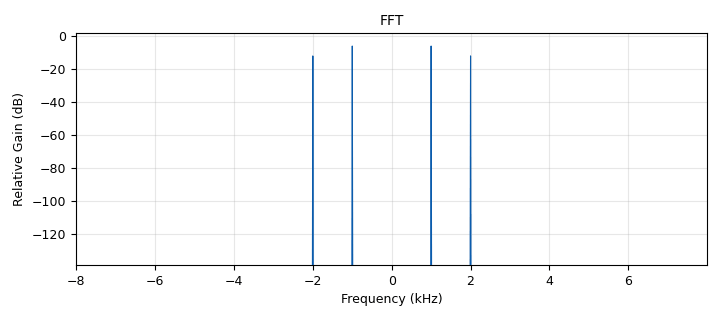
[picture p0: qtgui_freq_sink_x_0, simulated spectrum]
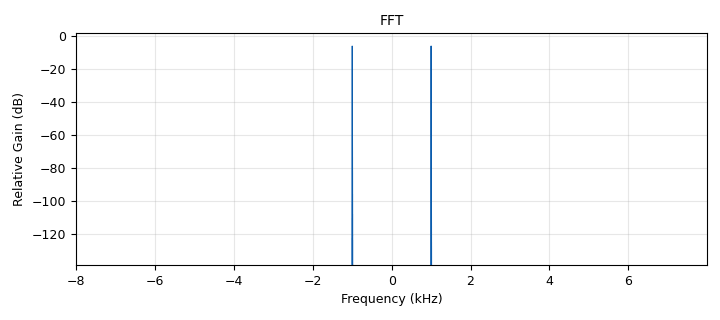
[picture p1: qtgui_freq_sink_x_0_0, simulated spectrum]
options:
  parameters:
    author: yabool2001
    copyright: mzemlo.pl@gmail.com
    description: https://wiki.gnuradio.org/index.php/QT_GUI_Frequency_Sink
    generate_options: qt_gui
    id: yabool2001_QT_GUI_Frequency_Sink_example_1
    output_language: python
    title: yabool2001 QT GUI Frequency Sink example 1
  states: {}

blocks:
- name: samp_rate
  id: variable
  parameters:
    value: '16000'
  states: {}
- name: analog_sig_source_x_0
  id: analog_sig_source_x
  parameters:
    amp: '1'
    freq: '1000'
    offset: '0'
    phase: '0'
    samp_rate: samp_rate
    type: float
    waveform: analog.GR_COS_WAVE
  states: {}
- name: analog_sig_source_x_0_0
  id: analog_sig_source_x
  parameters:
    amp: '1'
    freq: '1000'
    offset: '0'
    phase: '0'
    samp_rate: samp_rate
    type: float
    waveform: analog.GR_COS_WAVE
  states: {}
- name: analog_sig_source_x_0_1
  id: analog_sig_source_x
  parameters:
    amp: '0.5'
    freq: '2000'
    offset: '0'
    phase: '0'
    samp_rate: samp_rate
    type: float
    waveform: analog.GR_COS_WAVE
  states: {}
- name: blocks_add_xx_0
  id: blocks_add_xx
  parameters:
    type: float
  states: {}
- name: blocks_throttle2_0
  id: blocks_throttle2
  parameters:
    samples_per_second: samp_rate
    type: float
  states: {}
- name: blocks_throttle2_0_0
  id: blocks_throttle2
  parameters:
    samples_per_second: samp_rate
    type: float
  states: {}
- name: qtgui_freq_sink_x_0
  id: qtgui_freq_sink_x
  parameters:
    autoscale: 'True'
    bw: samp_rate
    fc: '0'
    fftsize: '1024'
    grid: 'True'
    name: FFT
    norm_window: 'True'
    type: float
    wintype: window.WIN_RECTANGULAR
  states: {}
- name: qtgui_freq_sink_x_0_0
  id: qtgui_freq_sink_x
  parameters:
    autoscale: 'True'
    bw: samp_rate
    fc: '0'
    fftsize: '1024'
    grid: 'True'
    name: FFT
    norm_window: 'True'
    type: float
    wintype: window.WIN_RECTANGULAR
  states: {}

connections:
- [analog_sig_source_x_0, '0', blocks_add_xx_0, '0']
- [analog_sig_source_x_0_0, '0', blocks_throttle2_0_0, '0']
- [analog_sig_source_x_0_1, '0', blocks_add_xx_0, '1']
- [blocks_add_xx_0, '0', blocks_throttle2_0, '0']
- [blocks_throttle2_0, '0', qtgui_freq_sink_x_0, '0']
- [blocks_throttle2_0_0, '0', qtgui_freq_sink_x_0_0, '0']

metadata:
  file_format: 1
  grc_version: 3.10.10.0
